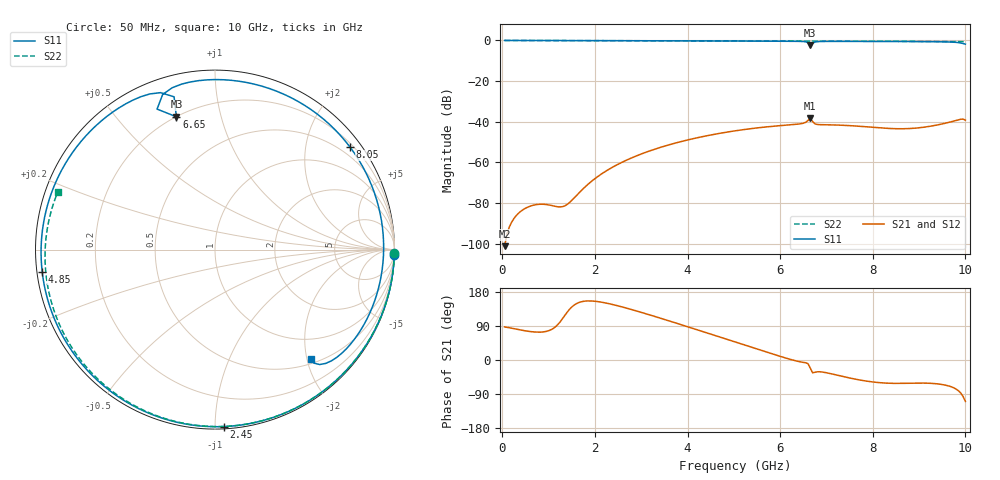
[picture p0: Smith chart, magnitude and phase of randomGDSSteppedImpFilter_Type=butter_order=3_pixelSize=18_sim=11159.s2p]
! freq	dB(S11)	phase(S11)	dB(S12)	phase(S12)
!  dB(S21)	phase(S21)	dB(S22)	phase(S22)
!S-par simulation data
#  GHz  S  DB  R 50
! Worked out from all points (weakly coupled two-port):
!   200 points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, 50 MHz to 10 GHz, reference 50 ohm
!   highest |S21| = -38.33 dB at 6.65 GHz (marker M1); lowest = -101.3 dB at 50 MHz (marker M2)
!   lowest |S11| = -2.3 dB at 6.65 GHz (marker M3), VSWR 7.72, Z = 10 + j36.6 ohm
!   |S11| at or under -10 dB: nowhere
!   |S22| runs from -0.6 to 0.0 dB; largest |S21 - S12| = 0
!   S11 on the Smith chart (normalised r, x): 50 MHz: 1, -62; 2.45 GHz: 0.01, -1.05; 4.85 GHz: 0.01, -0.06; 6.65 GHz: 0.20, +0.73; 8.05 GHz: 0.28, +2.95; 10 GHz: 0.59, -2.08
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0.05  -0.00 -1.9  -101.31 87.2  -101.31 87.2  -0.00 -1.2
0.7  -0.03 -25.4  -80.99 73.9  -80.99 73.9  -0.02 -16.3
1.45  -0.07 -52.1  -79.87 133.5  -79.87 133.5  -0.04 -33.4
1.75  -0.08 -62.7  -72.93 154.8  -72.93 154.8  -0.05 -40.1
2.45  -0.11 -87.0  -61.56 144.4  -61.56 144.4  -0.07 -55.5
3.4  -0.16 -119.9  -52.76 110.9  -52.76 110.9  -0.10 -75.4
4.2  -0.21 -148.3  -47.97 80.1  -47.97 80.1  -0.13 -91.4
4.85  -0.26 -172.7  -45.14 54.6  -45.14 54.6  -0.15 -104.0
5.05  -0.28 179.4  -44.43 46.7  -44.43 46.7  -0.16 -107.7
5.7  -0.33 152.2  -42.58 21.1  -42.58 21.1  -0.20 -119.8
6.3  -0.41 124.1  -41.40 -1.0  -41.40 -1.0  -0.24 -130.8
6.55  -0.67 109.1  -40.32 -7.3  -40.32 -7.3  -0.25 -135.3
6.65  -2.26 106.2  -38.33 -21.3  -38.33 -21.3  -0.26 -137.1
6.7  -1.44 112.4  -39.88 -33.7  -39.88 -33.7  -0.26 -138.0
6.85  -0.53 101.5  -41.47 -31.0  -41.47 -31.0  -0.27 -140.7
7.25  -0.47 79.2  -41.67 -40.5  -41.67 -40.5  -0.31 -147.9
8.05  -0.50 37.2  -42.87 -58.7  -42.87 -58.7  -0.38 -162.4
8.35  -0.51 22.0  -43.33 -61.3  -43.33 -61.3  -0.41 -167.9
8.75  -0.54 2.6  -43.43 -61.3  -43.43 -61.3  -0.45 -175.4
9.15  -0.58 -15.7  -42.58 -61.0  -42.58 -61.0  -0.50 177.0
9.75  -0.86 -41.5  -39.69 -73.5  -39.69 -73.5  -0.57 165.1
10  -1.82 -48.5  -39.26 -109.2  -39.26 -109.2  -0.60 160.1
